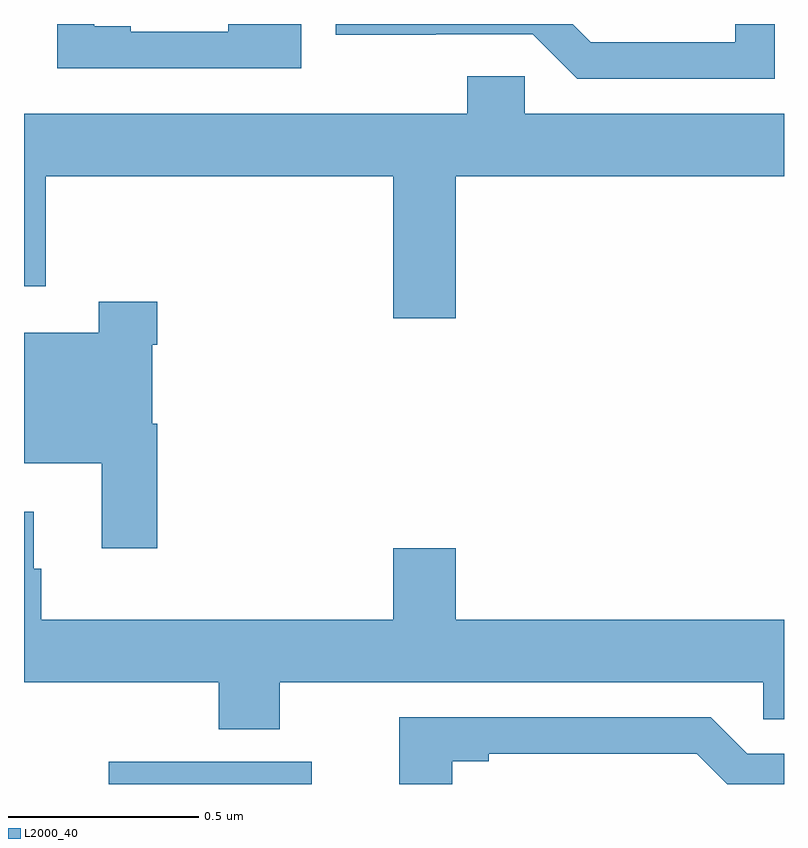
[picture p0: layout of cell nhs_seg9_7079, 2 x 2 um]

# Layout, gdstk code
import gdstk
lib = gdstk.Library(unit=1e-6, precision=1e-09)
def R(c, l, rs):  # rectangles x0, y0, x1, y1
    for r in rs: c.add(gdstk.rectangle(r[:2], r[2:], *l))
def P(c, l, *ps):  # polygons
    for p in ps: c.add(gdstk.Polygon(p, *l))
L2000_40 = (2000, 40)

nhs_seg9_7079 = lib.new_cell('nhs_seg9_7079')
R(nhs_seg9_7079, L2000_40, [(200.223,1181.5,200.757,1181.559)])
P(nhs_seg9_7079, L2000_40, [(201.976,1183.5),(201.872,1183.5),(201.872,1183.452),(201.492,1183.452),(201.444,1183.5),(200.82,1183.5),(200.82,1183.472),(201.083,1183.472),(201.083,1183.473),(201.339,1183.473),(201.456,1183.356),(201.976,1183.356)],
  [(200.73,1183.5),(200.633,1183.5),(200.633,1183.499),(200.537,1183.499),(200.537,1183.479),(200.281,1183.479),(200.281,1183.494),(200.185,1183.494),(200.185,1183.5),(200.088,1183.5),(200.088,1183.383),(200.73,1183.383)],
  [(201.136,1183.1),(202,1183.1),(202,1183.264),(201.318,1183.264),(201.318,1183.362),(201.167,1183.362),(201.167,1183.264),(200,1183.264),(200,1182.81),(200.057,1182.81),(200.057,1183.1),(200.972,1183.1),(200.972,1182.726),(201.136,1182.726)],
  [(200.351,1182.448),(200.338,1182.448),(200.338,1182.656),(200.351,1182.656),(200.351,1182.769),(200.197,1182.769),(200.197,1182.688),(200,1182.688),(200,1182.344),(200.204,1182.344),(200.204,1182.12),(200.351,1182.12)],
  [(200.673,1181.768),(201.945,1181.768),(201.945,1181.67),(202,1181.67),(202,1181.932),(201.136,1181.932),(201.136,1182.121),(200.972,1182.121),(200.972,1181.932),(200.045,1181.932),(200.045,1182.066),(200.026,1182.066),(200.026,1182.217),(200,1182.217),(200,1181.768),(200.513,1181.768),(200.513,1181.644),(200.673,1181.644)],
  [(201.127,1181.56),(201.223,1181.56),(201.223,1181.58),(201.771,1181.58),(201.851,1181.5),(202,1181.5),(202,1181.58),(201.903,1181.58),(201.807,1181.676),(200.987,1181.676),(200.987,1181.5),(201.127,1181.5)])

lib.write_gds('nhs_seg9_7079.gds')
